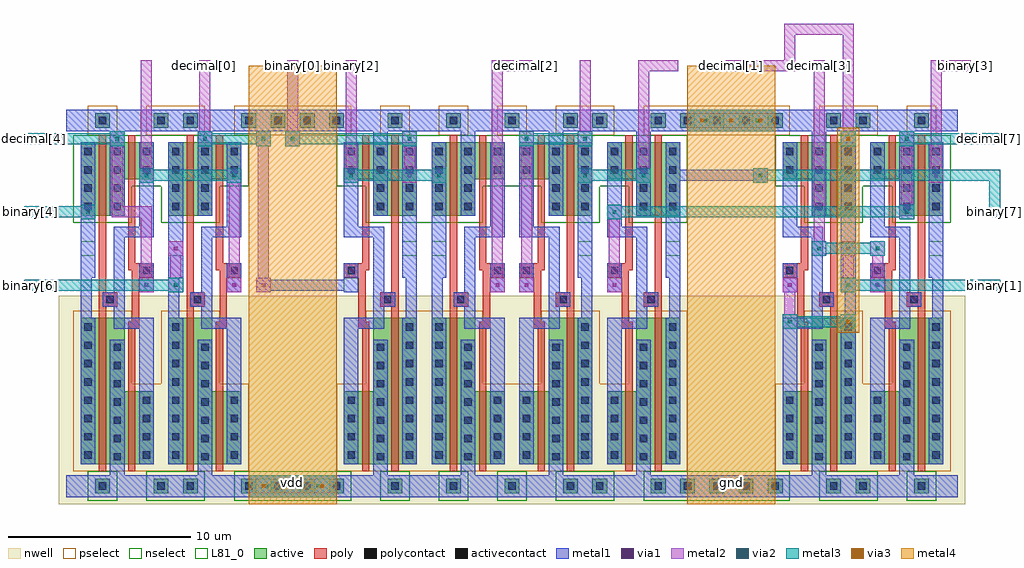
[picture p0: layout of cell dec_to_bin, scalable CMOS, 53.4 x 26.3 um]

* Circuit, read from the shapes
.subckt dec_to_bin binary[0] binary[1] binary[2] binary[3] binary[4] binary[5] binary[6] binary[7] decimal[0] decimal[1] decimal[2] decimal[3] decimal[4] decimal[5] decimal[6] decimal[7] gnd vdd
M1 gnd n1 binary[4] gnd nfet w=4u l=0.4u
M2 n1 decimal[4] gnd gnd nfet w=2u l=0.4u
M3 gnd n2 binary[6] gnd nfet w=4u l=0.4u
M4 n2 decimal[6] gnd gnd nfet w=2u l=0.4u
M5 gnd decimal[0] n3 gnd nfet w=2u l=0.4u
M6 binary[0] n3 gnd gnd nfet w=4u l=0.4u
M7 gnd n4 binary[2] gnd nfet w=4u l=0.4u
M8 n4 decimal[2] gnd gnd nfet w=2u l=0.4u
M9 gnd decimal[5] n5 gnd nfet w=2u l=0.4u
M10 binary[5] n5 gnd gnd nfet w=4u l=0.4u
M11 gnd decimal[7] n6 gnd nfet w=2u l=0.4u
M12 binary[7] n6 gnd gnd nfet w=4u l=0.4u
M13 gnd decimal[1] n7 gnd nfet w=2u l=0.4u
M14 binary[1] n7 gnd gnd nfet w=4u l=0.4u
M15 gnd decimal[3] n8 gnd nfet w=2u l=0.4u
M16 binary[3] n8 gnd gnd nfet w=4u l=0.4u
M17 vdd n1 binary[4] vdd pfet w=8u l=0.4u
M18 n1 decimal[4] vdd vdd pfet w=4u l=0.4u
M19 vdd n2 binary[6] vdd pfet w=8u l=0.4u
M20 n2 decimal[6] vdd vdd pfet w=4u l=0.4u
M21 vdd decimal[0] n3 vdd pfet w=4u l=0.4u
M22 binary[0] n3 vdd vdd pfet w=8u l=0.4u
M23 vdd n4 binary[2] vdd pfet w=8u l=0.4u
M24 n4 decimal[2] vdd vdd pfet w=4u l=0.4u
M25 vdd decimal[5] n5 vdd pfet w=4u l=0.4u
M26 binary[5] n5 vdd vdd pfet w=8u l=0.4u
M27 vdd decimal[7] n6 vdd pfet w=4u l=0.4u
M28 binary[7] n6 vdd vdd pfet w=8u l=0.4u
M29 vdd decimal[1] n7 vdd pfet w=4u l=0.4u
M30 binary[1] n7 vdd vdd pfet w=8u l=0.4u
M31 vdd decimal[3] n8 vdd pfet w=4u l=0.4u
M32 binary[3] n8 vdd vdd pfet w=8u l=0.4u
.ends

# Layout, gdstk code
from math import pi, radians
import gdstk
lib = gdstk.Library(unit=1e-6, precision=1e-09)
def R(c, l, rs):  # rectangles x0, y0, x1, y1
    for r in rs: c.add(gdstk.rectangle(r[:2], r[2:], *l))
def A(c, l, x, y, w, h, nx, ny, dx, dy):  # array of equal rectangles
    R(c, l, [(x+i*dx, y+j*dy, x+i*dx+w, y+j*dy+h) for i in range(nx) for j in range(ny)])
via3 = (30, 0)
metal4 = (31, 0)
nwell = (42, 0)
active = (43, 0)
pselect = (44, 0)
nselect = (45, 0)
poly = (46, 0)
polycontact = (47, 0)
activecontact = (48, 0)
metal1 = (49, 0)
via1 = (50, 0)
metal2 = (51, 0)
via2 = (61, 0)
metal3 = (62, 0)
L81_0 = (81, 0)

bufx2 = lib.new_cell('BUFX2')
R(bufx2, nwell, [(-1,9.6,5.6,21)])
R(bufx2, active, [(-0.4,-0.4,0.4,0.4), (2.8,-0.4,3.6,0.4), (0.4,1.2,4.4,3.2), (2,3.2,4.4,5.2), (2,10.8,4.4,14.8), (0.4,14.8,4.4,18.8), (-0.4,19.6,0.4,20.4), (2.8,19.6,3.6,20.4)])
R(bufx2, pselect, [(-0.8,-0.8,0.8,0.8), (2.4,-0.8,4,0.8), (1.6,10.4,4.8,14.4), (0,14.4,4.8,19.2)])
R(bufx2, nselect, [(0,0.8,4.8,3.6), (1.6,3.6,4.8,5.6), (-0.8,19.2,0.8,20.8), (2.4,19.2,4,20.8)])
R(bufx2, poly, [(1.4,0.8,1.8,7.8), (3,0.8,3.4,9.4), (0.4,7.8,1.8,8.2), (0.4,8.2,1.6,8.6), (1.2,8.6,1.6,11), (2.4,9.4,3.4,10.2), (3,10.2,3.4,19.2), (1.2,11,1.8,11.4), (1.4,11.4,1.8,19.2)])
R(bufx2, polycontact, [(0.6,8,1,8.4), (2.6,9.6,3,10)])
A(bufx2, activecontact, 0.6, 1.5, 0.4, 0.4, 3, 2, 1.6, 1)
A(bufx2, activecontact, 3.8, 11.1, 0.4, 0.4, 1, 8, 0, 1)
A(bufx2, activecontact, 2.2, 12.2, 0.4, 0.4, 1, 7, 0, 1)
A(bufx2, activecontact, 0.6, 15.1, 0.4, 0.4, 1, 4, 0, 1)
R(bufx2, activecontact, [(-0.2,-0.2,0.2,0.2), (3,-0.2,3.4,0.2), (2.2,3.5,2.6,3.9), (3.8,3.5,4.2,3.9), (2.2,4.5,2.6,4.9), (3.8,4.5,4.2,4.9), (-0.2,19.8,0.2,20.2), (3,19.8,3.4,20.2)])
R(bufx2, metal1, [(-0.4,-0.6,5.2,0.6), (2,0.6,2.8,5.2), (0.4,1.2,1.2,5.8), (3.6,1.2,4.4,8.6), (0.4,5.8,2.6,6.4), (2,6.4,2.6,9.4), (0.4,7.8,1.2,9.4), (3.8,8.6,4.4,10.8), (2,9.4,3.2,10.2), (2,10.2,2.6,10.8), (0.4,10.8,2.6,11.4), (3.6,10.8,4.4,18.8), (0.4,11.4,1.2,18.8), (2,12,2.8,19.4), (-0.4,19.4,5.2,20.6)])
R(bufx2, L81_0, [(3.6,6.6,4.4,7.4), (0.4,8.6,1.2,9.4)])
bufx2.add(gdstk.Label('vdd', (0.8,20), layer=109, texttype=0))
bufx2.add(gdstk.Label('gnd', (0.8,0), layer=109, texttype=0))
bufx2.add(gdstk.Label('A', (0.8,9), layer=109, texttype=0))
bufx2.add(gdstk.Label('Y', (4,7), layer=109, texttype=0))

fill = lib.new_cell('FILL')
R(fill, nwell, [(-1.6,9.6,3.2,21)])
R(fill, active, [(-0.4,-0.4,0.4,0.4), (1.2,-0.4,2,0.4), (-0.4,19.6,0.4,20.4), (1.2,19.6,2,20.4)])
R(fill, pselect, [(-0.8,-0.8,2.4,0.8)])
R(fill, nselect, [(-0.8,19.2,2.4,20.8)])
R(fill, activecontact, [(-0.2,-0.2,0.2,0.2), (1.4,-0.2,1.8,0.2), (-0.2,19.8,0.2,20.2), (1.4,19.8,1.8,20.2)])
R(fill, metal1, [(-0.4,-0.6,2,0.6), (-0.4,19.4,2,20.6)])
fill.add(gdstk.Label('vdd', (0.8,20), layer=109, texttype=0))
fill.add(gdstk.Label('gnd', (0.8,0), layer=109, texttype=0))

dec_to_bin = lib.new_cell('dec_to_bin')
A(dec_to_bin, via3, 11.1, 0.9, 0.2, 0.2, 3, 1, 1.6, 0)
A(dec_to_bin, via3, 35.1, 20.9, 0.2, 0.2, 3, 1, 1.6, 0)
R(dec_to_bin, via3, [(43.1,9.9,43.3,10.1), (43.1,19.9,43.3,20.1)])
R(dec_to_bin, metal4, [(10.4,0,15.2,24), (34.4,0,39.2,24), (42.6,9.4,43.8,20.6)])
R(dec_to_bin, metal1, [(10.4,0.6,15.2,1.4), (4.4,11.6,5.2,12.4), (9.2,11.6,10,12.4), (10.8,11.6,11.6,11.7), (23.6,11.6,24.4,12.4), (25.2,11.6,26,12.4), (30,11.6,30.8,12.4), (39.6,11.6,40.4,12.4), (44.4,11.6,45.2,12.4), (10.8,11.7,16.3,12.3), (10.8,12.3,11.6,12.4), (6,13.6,6.8,14.4), (42.8,13.6,43.6,14.4), (1.2,15.6,2,16.4), (18.8,17.6,19.6,18.4), (20.4,17.6,21.2,18.4), (28.4,17.6,29.2,18.4), (38,17.6,38.8,17.7), (47.6,17.6,48.4,18.4), (33.3,17.7,38.8,18.3), (38,18.3,38.8,18.4), (34.4,20.6,39.2,21.4)])
A(dec_to_bin, via1, 11.3, 0.9, 0.2, 0.2, 3, 1, 1.4, 0)
A(dec_to_bin, via1, 28.7, 17.9, 0.2, 0.2, 3, 1, 9.6, 0)
A(dec_to_bin, via1, 35.3, 20.9, 0.2, 0.2, 3, 1, 1.4, 0)
R(dec_to_bin, via1, [(4.7,11.9,4.9,12.1), (9.5,11.9,9.7,12.1), (11.1,11.9,11.3,12.1), (23.9,11.9,24.1,12.1), (25.5,11.9,25.7,12.1), (30.3,11.9,30.5,12.1), (39.9,11.9,40.1,12.1), (44.7,11.9,44.9,12.1), (6.3,13.9,6.5,14.1), (43.1,13.9,43.3,14.1), (1.5,15.9,1.7,16.1), (19.1,17.9,19.3,18.1), (20.7,17.9,20.9,18.1)])
A(dec_to_bin, metal2, 41.2, 13.6, 0.8, 0.8, 3, 1, 1.6, 0)
A(dec_to_bin, metal2, 12.4, 19.6, 0.8, 0.8, 3, 1, 6.4, 0)
R(dec_to_bin, metal2, [(10.4,0.6,15.2,1.4), (39.6,9.6,40.4,10.4), (39.7,10.4,40.3,11.6), (4.4,11.6,5.2,12.4), (6,11.6,6.8,12.4), (9.2,11.6,10,12.4), (10.8,11.6,11.6,12.4), (23.6,11.6,24.4,12.4), (25.2,11.6,26,12.4), (30,11.6,30.8,12.4), (39.6,11.6,40.4,12.4), (42.8,11.6,43.6,12.4), (44.4,11.6,45.2,12.4), (4.5,12.4,5.1,15.7), (6.1,12.4,6.7,13.6), (9.3,12.4,9.9,17.6), (10.9,12.4,11.5,19.6), (23.7,12.4,24.3,23.7), (25.3,12.4,25.9,19.6), (30.1,12.4,30.7,15.6), (42.9,12.4,43.5,13.6), (44.5,12.4,45.1,13.6), (6,13.6,6.8,14.4), (41.3,14.4,41.9,24.3), (1.2,15.6,2,16.4), (30,15.6,30.8,16.4), (46,15.6,46.8,16.4), (2.9,15.7,5.1,16.3), (2.9,16.3,3.5,19.6), (46.1,16.4,46.7,19.6), (4.4,17.6,5.2,18.4), (9.2,17.6,10,18.4), (15.6,17.6,16.4,18.4), (18.8,17.6,19.6,18.4), (20.4,17.6,21.2,18.4), (28.4,17.6,29.2,18.4), (31.6,17.6,32.4,18.4), (38,17.6,38.8,18.4), (47.6,17.6,48.4,18.4), (4.5,18.4,5.1,24.3), (15.7,18.4,16.3,24.3), (18.9,18.4,19.5,19.6), (31.7,18.4,32.3,23.7), (47.7,18.4,48.3,23.7), (2.8,19.6,3.6,20.4), (7.6,19.6,8.4,20.4), (10.8,19.6,11.6,20.4), (28.4,19.6,29.2,20.4), (42.8,19.6,43.6,20.4), (46,19.6,46.8,20.4), (7.7,20.4,8.3,24.3), (12.5,20.4,13.1,24.3), (28.5,20.4,29.1,24.3), (42.9,20.4,43.5,25.7), (34.4,20.6,39.2,21.4), (23.7,23.7,25.9,24.3), (31.7,23.7,33.9,24.3), (36.5,23.7,40.3,24.3), (47.7,23.7,49.9,24.3), (39.7,24.3,40.3,25.7), (39.7,25.7,43.5,26.3)])
A(dec_to_bin, via2, 11.3, 0.9, 0.2, 0.2, 3, 1, 1.4, 0)
A(dec_to_bin, via2, 12.7, 19.9, 0.2, 0.2, 3, 1, 6.4, 0)
A(dec_to_bin, via2, 35.3, 20.9, 0.2, 0.2, 3, 1, 1.4, 0)
R(dec_to_bin, via2, [(39.9,9.9,40.1,10.1), (6.3,11.9,6.5,12.1), (43.1,11.9,43.3,12.1), (41.5,13.9,41.7,14.1), (44.7,13.9,44.9,14.1), (1.5,15.9,1.7,16.1), (30.3,15.9,30.5,16.1), (46.3,15.9,46.5,16.1), (4.7,17.9,4.9,18.1), (9.5,17.9,9.7,18.1), (15.9,17.9,16.1,18.1), (20.7,17.9,20.9,18.1), (28.7,17.9,28.9,18.1), (31.9,17.9,32.1,18.1), (38.3,17.9,38.5,18.1), (3.1,19.9,3.3,20.1), (7.9,19.9,8.1,20.1), (11.1,19.9,11.3,20.1), (28.7,19.9,28.9,20.1), (43.1,19.9,43.3,20.1), (46.3,19.9,46.5,20.1)])
A(dec_to_bin, metal3, 12.4, 19.6, 0.8, 0.1, 3, 2, 6.4, 0.7)
R(dec_to_bin, metal3, [(10.4,0.4,15.2,1.6), (39.6,9.6,40.4,9.7), (42.8,9.6,43.6,9.7), (39.6,9.7,43.6,10.3), (39.6,10.3,40.4,10.4), (42.8,10.3,43.6,10.4), (6,11.6,6.8,11.7), (42.8,11.6,43.6,11.7), (-1.9,11.7,6.8,12.3), (42.8,11.7,51.5,12.3), (6,12.3,6.8,12.4), (42.8,12.3,43.6,12.4), (41.2,13.6,42,13.7), (44.4,13.6,45.2,13.7), (41.2,13.7,45.2,14.3), (41.2,14.3,42,14.4), (44.4,14.3,45.2,14.4), (1.2,15.6,2,15.7), (30,15.6,30.8,15.7), (46,15.6,46.8,15.7), (-1.9,15.7,2,16.3), (30,15.7,46.8,16.3), (50.9,15.7,51.5,17.7), (1.2,16.3,2,16.4), (30,16.3,30.8,16.4), (46,16.3,46.8,16.4), (4.4,17.6,5.2,17.7), (9.2,17.6,10,17.7), (15.6,17.6,16.4,17.7), (20.4,17.6,21.2,17.7), (28.4,17.6,29.2,17.7), (31.6,17.6,32.4,17.7), (38,17.6,38.8,17.7), (4.4,17.7,10,18.3), (15.6,17.7,21.2,18.3), (28.4,17.7,32.4,18.3), (38,17.7,51.5,18.3), (4.4,18.3,5.2,18.4), (9.2,18.3,10,18.4), (15.6,18.3,16.4,18.4), (20.4,18.3,21.2,18.4), (28.4,18.3,29.2,18.4), (31.6,18.3,32.4,18.4), (38,18.3,38.8,18.4), (2.8,19.6,3.6,19.7), (7.6,19.6,8.4,19.7), (10.8,19.6,11.6,19.7), (28.4,19.6,29.2,19.7), (42.8,19.6,43.6,20.4), (46,19.6,46.8,19.7), (-1.9,19.7,3.6,20.3), (7.6,19.7,11.6,20.3), (12.4,19.7,19.6,20.3), (25.2,19.7,29.2,20.3), (46,19.7,51.5,20.3), (2.8,20.3,3.6,20.4), (7.6,20.3,8.4,20.4), (10.8,20.3,11.6,20.4), (28.4,20.3,29.2,20.4), (46,20.3,46.8,20.4), (34.4,20.4,39.2,21.6)])
dec_to_bin.add(gdstk.Reference(bufx2, (10.4,21), rotation=pi))
dec_to_bin.add(gdstk.Reference(bufx2, (5.6,21), rotation=pi))
dec_to_bin.add(gdstk.Reference(fill, (13.6,21), x_reflection=True))
dec_to_bin.add(gdstk.Reference(fill, (12,21), x_reflection=True))
dec_to_bin.add(gdstk.Reference(fill, (10.4,21), x_reflection=True))
dec_to_bin.add(gdstk.Reference(bufx2, (24.8,21), rotation=pi))
dec_to_bin.add(gdstk.Reference(bufx2, (15.2,21), x_reflection=True))
dec_to_bin.add(gdstk.Reference(bufx2, (24.8,21), x_reflection=True))
dec_to_bin.add(gdstk.Reference(bufx2, (29.6,21), x_reflection=True))
dec_to_bin.add(gdstk.Reference(fill, (34.4,21), x_reflection=True))
dec_to_bin.add(gdstk.Reference(bufx2, (39.2,21), x_reflection=True))
dec_to_bin.add(gdstk.Reference(fill, (37.6,21), x_reflection=True))
dec_to_bin.add(gdstk.Reference(fill, (36,21), x_reflection=True))
dec_to_bin.add(gdstk.Reference(bufx2, (44,21), x_reflection=True))
dec_to_bin.add(gdstk.Label('vdd', (12.8,1.2), layer=31, texttype=0))
dec_to_bin.add(gdstk.Label('gnd', (36.8,1.2), layer=31, texttype=0))
dec_to_bin.add(gdstk.Label('decimal[0]', (8,24), layer=51, texttype=0))
dec_to_bin.add(gdstk.Label('decimal[1]', (36.8,24), layer=51, texttype=0))
dec_to_bin.add(gdstk.Label('decimal[2]', (25.6,24), layer=51, texttype=0))
dec_to_bin.add(gdstk.Label('decimal[3]', (41.6,24), layer=51, texttype=0))
dec_to_bin.add(gdstk.Label('decimal[4]', (-1.6,20), layer=62, texttype=0))
dec_to_bin.add(gdstk.Label('decimal[5]', (28.8,24), layer=51, texttype=0))
dec_to_bin.add(gdstk.Label('decimal[6]', (4.8,24), layer=51, texttype=0))
dec_to_bin.add(gdstk.Label('decimal[7]', (51.2,20), layer=62, texttype=0))
dec_to_bin.add(gdstk.Label('binary[0]', (12.8,24), layer=51, texttype=0))
dec_to_bin.add(gdstk.Label('binary[1]', (51.2,12), layer=62, texttype=0))
dec_to_bin.add(gdstk.Label('binary[2]', (16,24), layer=51, texttype=0))
dec_to_bin.add(gdstk.Label('binary[3]', (49.6,24), layer=51, texttype=0))
dec_to_bin.add(gdstk.Label('binary[4]', (-1.6,16), layer=62, texttype=0))
dec_to_bin.add(gdstk.Label('binary[5]', (33.6,24), layer=51, texttype=0))
dec_to_bin.add(gdstk.Label('binary[6]', (-1.6,12), layer=62, texttype=0))
dec_to_bin.add(gdstk.Label('binary[7]', (51.2,16), layer=62, texttype=0))

lib.write_gds('dec_to_bin.gds')
